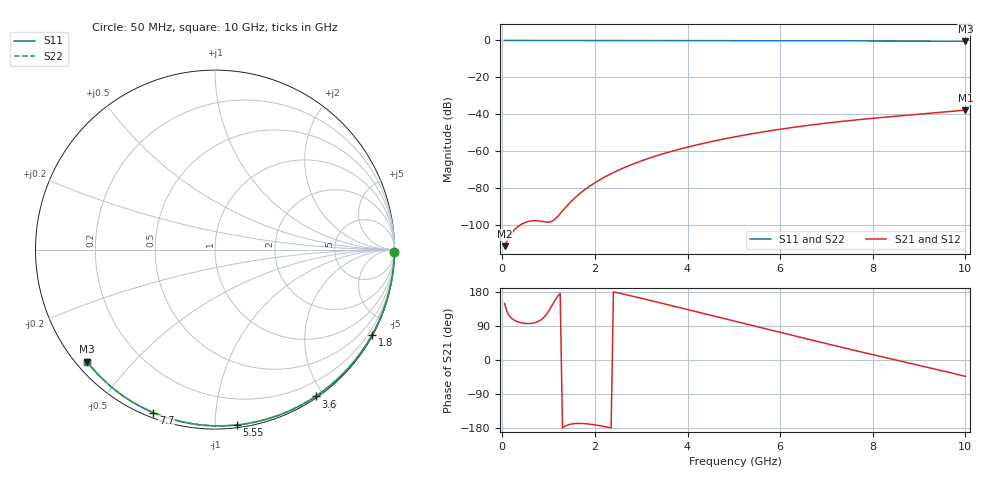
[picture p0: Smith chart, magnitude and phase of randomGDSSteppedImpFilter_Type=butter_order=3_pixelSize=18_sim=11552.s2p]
! freq	dB(S11)	phase(S11)	dB(S12)	phase(S12)
!  dB(S21)	phase(S21)	dB(S22)	phase(S22)
!S-par simulation data
#  GHz  S  DB  R 50
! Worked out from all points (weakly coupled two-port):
!   200 points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, 50 MHz to 10 GHz, reference 50 ohm
!   highest |S21| = -37.82 dB at 10 GHz (marker M1); lowest = -111.7 dB at 50 MHz (marker M2)
!   lowest |S11| = -0.5 dB at 10 GHz (marker M3), VSWR 36.95, Z = 1.54 - j18.8 ohm
!   |S11| at or under -10 dB: nowhere
!   |S22| runs from -0.5 to 0.0 dB; largest |S21 - S12| = 0
!   S11 on the Smith chart (normalised r, x): 50 MHz: open; 1.8 GHz: 0.03, -3.94; 3.6 GHz: 0.02, -1.90; 5.55 GHz: 0.02, -1.13; 7.7 GHz: 0.02, -0.69; 10 GHz: 0.03, -0.38
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0.05  -0.00 -0.8  -111.67 148.8  -111.67 148.8  -0.00 -0.8
0.45  -0.01 -7.2  -99.28 97.2  -99.28 97.2  -0.01 -7.2
0.9  -0.02 -14.4  -98.44 112.7  -98.44 112.7  -0.02 -14.4
1.75  -0.04 -27.7  -81.60 -167.8  -81.60 -167.8  -0.04 -27.7
1.8  -0.04 -28.5  -80.65 -168.2  -80.65 -168.2  -0.04 -28.5
1.85  -0.04 -29.2  -79.74 -168.8  -79.74 -168.8  -0.04 -29.2
2  -0.04 -31.6  -77.24 -171.2  -77.24 -171.2  -0.04 -31.5
2.15  -0.04 -33.9  -74.98 -174.3  -74.98 -174.3  -0.04 -33.9
2.35  -0.05 -36.9  -72.31 -179.1  -72.31 -179.1  -0.05 -36.9
2.55  -0.05 -40.0  -69.94 175.7  -69.94 175.7  -0.05 -40.0
2.95  -0.06 -46.0  -65.87 164.4  -65.87 164.4  -0.06 -46.0
3.4  -0.07 -52.7  -62.06 151.1  -62.06 151.1  -0.07 -52.6
3.6  -0.08 -55.6  -60.57 145.1  -60.57 145.1  -0.07 -55.6
4.3  -0.09 -65.7  -56.09 124.1  -56.09 124.1  -0.09 -65.6
5.05  -0.12 -76.2  -52.19 101.6  -52.19 101.6  -0.12 -76.1
5.55  -0.14 -83.0  -49.97 86.6  -49.97 86.6  -0.14 -82.9
6.1  -0.16 -90.3  -47.82 70.1  -47.82 70.1  -0.16 -90.2
6.7  -0.19 -98.1  -45.78 52.1  -45.78 52.1  -0.19 -98.0
7.7  -0.25 -110.7  -42.98 22.7  -42.98 22.7  -0.25 -110.7
8.35  -0.31 -118.8  -41.45 4.2  -41.45 4.2  -0.30 -118.7
9.2  -0.38 -129.1  -39.58 -19.7  -39.58 -19.7  -0.38 -129.0
10  -0.47 -138.8  -37.82 -43.3  -37.82 -43.3  -0.47 -138.7
